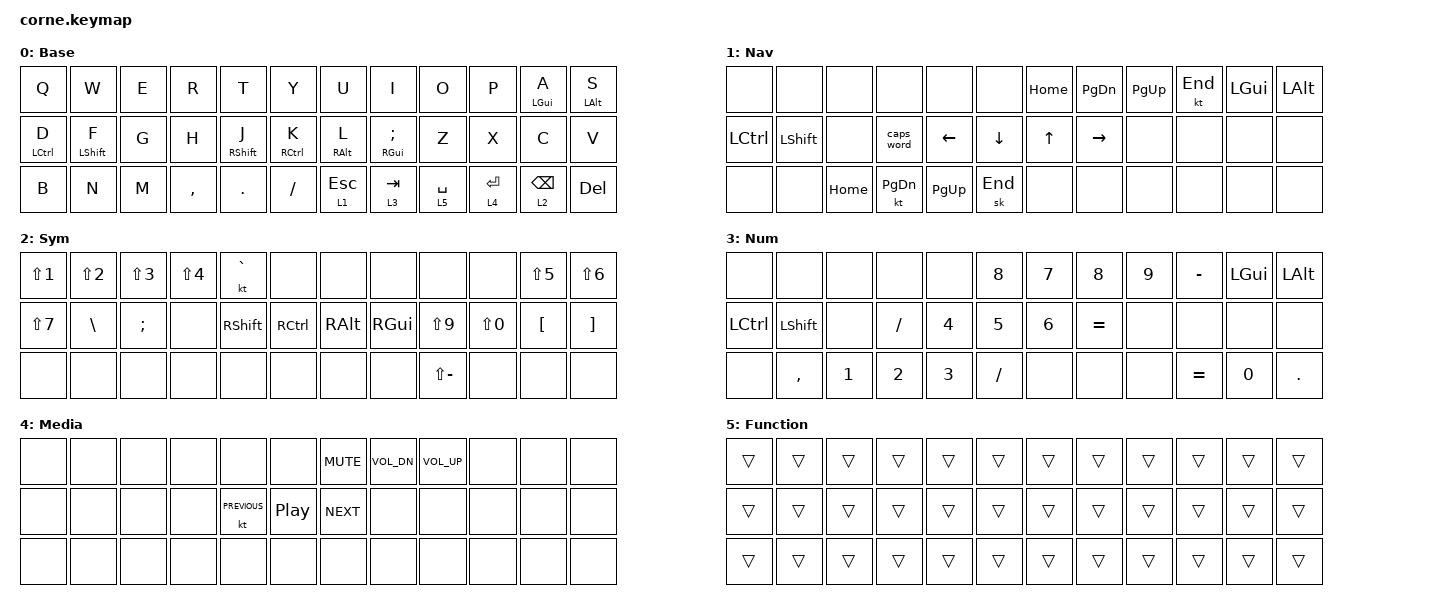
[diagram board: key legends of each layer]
#include <behaviors.dtsi>
#include <dt-bindings/zmk/keys.h>

&caps_word { continue-list = <UNDERSCORE BACKSPACE DELETE>; };

/ {
    chosen { zmk,physical-layout = &foostan_corne_5col_layout; };

    combos { compatible = "zmk,combos"; };

    behaviors {
        oneshot: oneshot {
            compatible = "zmk,behavior-sticky-key";
            label = "os";
            bindings = <&kp>;
            #binding-cells = <1>;
            release-after-ms = <1000>;
            quick-release;
            ignore-modifiers;
        };

        layer_oneshot_hold: lo_hold {
            compatible = "zmk,behavior-hold-tap";
            label = "lo_hold";
            bindings = <&mo>, <&oneshot>;

            #binding-cells = <2>;
            tapping-term-ms = <200>;
            flavor = "hold-preferred";
            quick-tap-ms = <200>;
            hold-while-undecided;
        };

        home_row_mod: hrm {
            compatible = "zmk,behavior-hold-tap";
            label = "HOME_ROW_MOD";
            bindings = <&kp>, <&kp>;

            #binding-cells = <2>;
            flavor = "tap-preferred";
            tapping-term-ms = <200>;
            quick-tap-ms = <200>;
        };

        ltmiryoku: mlt {
            compatible = "zmk,behavior-hold-tap";
            label = "LTMIRYOKU";
            bindings = <&mo>, <&kp>;

            #binding-cells = <2>;
            tapping-term-ms = <200>;
            flavor = "tap-preferred";
            quick-tap-ms = <200>;
            require-prior-idle-ms = <125>;
        };
    };

    keymap {
        compatible = "zmk,keymap";

        base {
            display-name = "Base";
            bindings = <
&kp Q                         &kp W                       &kp E  &kp R      &kp T                        &kp Y                            &kp U                      &kp I                              &kp O               &kp P                &home_row_mod LEFT_GUI A  &home_row_mod LEFT_ALT S
&home_row_mod LEFT_CONTROL D  &home_row_mod LEFT_SHIFT F  &kp G  &kp H      &home_row_mod RIGHT_SHIFT J  &home_row_mod RIGHT_CONTROL K    &home_row_mod RIGHT_ALT L  &home_row_mod RIGHT_GUI SEMICOLON  &kp Z               &kp X                &kp C                     &kp V
&kp B                         &kp N                       &kp M  &kp COMMA  &kp DOT                      &kp FSLH                         &ltmiryoku 1 ESCAPE        &ltmiryoku 3 TAB                   &ltmiryoku 5 SPACE  &ltmiryoku 4 RETURN  &ltmiryoku 2 BACKSPACE    &kp DELETE
            >;
        };

        Nav {
            bindings = <
&none      &none      &none     &none          &none      &none       &kp HOME      &kp PAGE_DOWN  &kp PG_UP  &kt END  &kp LGUI  &kp LALT
&kp LCTRL  &kp LSHFT  &none     &caps_word     &kp LEFT   &kp DOWN    &kp UP_ARROW  &kp RIGHT      &none      &none    &none     &none
&none      &none      &kp HOME  &kt PAGE_DOWN  &kp PG_UP  &sk END     &none         &none          &none      &none    &none     &none
            >;

            label = "Nav";
        };

        Sym {
            bindings = <
&kp LS(N1)  &kp LS(N2)  &kp LS(N3)  &kp LS(N4)  &kt GRAVE  &none        &none     &none     &none          &none       &kp LS(N5)  &kp LS(N6)
&kp LS(N7)  &kp BSLH    &kp SEMI    &none       &kp RSHFT  &kp RCTRL    &kp RALT  &kp RGUI  &kp LS(N9)     &kp LS(N0)  &kp LBKT    &kp RBKT
&none       &none       &none       &none       &none      &none        &none     &none     &kp LS(MINUS)  &none       &none       &none
            >;

            label = "Sym";
        };

        Num {
            label = "Num";
            bindings = <
&none      &none      &none   &none     &none   &kp N8      &kp N7  &kp N8     &kp N9  &kp MINUS  &kp LGUI  &kp LALT
&kp LCTRL  &kp LSHFT  &none   &kp FSLH  &kp N4  &kp N5      &kp N6  &kp EQUAL  &none   &none      &none     &none
&none      &kp COMMA  &kp N1  &kp N2    &kp N3  &kp FSLH    &none   &none      &none   &kp EQUAL  &kp N0    &kp DOT
            >;
        };

        Media {
            bindings = <
&none  &none  &none  &none  &none           &none               &kp C_MUTE  &kp C_VOL_DN  &kp C_VOLUME_UP  &none  &none  &none
&none  &none  &none  &none  &kt C_PREVIOUS  &kp C_PLAY_PAUSE    &kp C_NEXT  &none         &none            &none  &none  &none
&none  &none  &none  &none  &none           &none               &none       &none         &none            &none  &none  &none
            >;

            label = "Media";
        };

        Function {
            bindings = <
&trans  &trans  &trans  &trans  &trans  &trans    &trans  &trans  &trans  &trans  &trans  &trans
&trans  &trans  &trans  &trans  &trans  &trans    &trans  &trans  &trans  &trans  &trans  &trans
&trans  &trans  &trans  &trans  &trans  &trans    &trans  &trans  &trans  &trans  &trans  &trans
            >;

            label = "Function";
        };
    };
};
